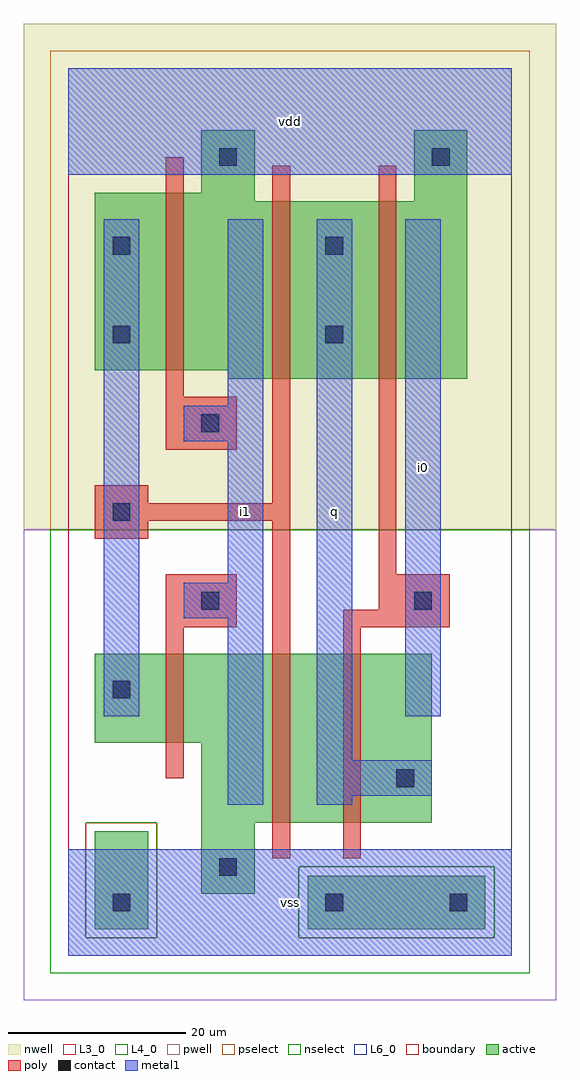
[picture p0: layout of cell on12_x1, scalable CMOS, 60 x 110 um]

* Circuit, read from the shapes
.subckt on12_x1 i0 i1 q vdd vss
M1 vss i1 n1 vss nfet w=10u l=2u
M2 n2 n1 vss vss nfet w=19u l=2u
M3 q i0 n2 vss nfet w=19u l=2u
M4 vdd i1 n1 n3 pfet w=20u l=2u
M5 q n1 vdd n3 pfet w=20u l=2u
M6 vdd i0 q n3 pfet w=20u l=2u
.ends

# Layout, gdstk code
import gdstk
lib = gdstk.Library(unit=1e-6, precision=1e-09)
def R(c, l, rs):  # rectangles x0, y0, x1, y1
    for r in rs: c.add(gdstk.rectangle(r[:2], r[2:], *l))
def A(c, l, x, y, w, h, nx, ny, dx, dy):  # array of equal rectangles
    R(c, l, [(x+i*dx, y+j*dy, x+i*dx+w, y+j*dy+h) for i in range(nx) for j in range(ny)])
L3_0 = (3, 0)
L4_0 = (4, 0)
L6_0 = (6, 0)
contact = (25, 0)
pwell = (41, 0)
nwell = (42, 0)
active = (43, 0)
pselect = (44, 0)
nselect = (45, 0)
poly = (46, 0)
metal1 = (49, 0)
boundary = (63, 0)

on12_x1 = lib.new_cell('on12_x1')
R(on12_x1, L3_0, [(15,7,21,15), (15,15,41,24), (3,24,41,34)])
R(on12_x1, L4_0, [(18,65,45,66), (3,66,45,85), (3,85,21,86), (39,85,45,93), (15,86,21,93)])
R(on12_x1, L6_0, [(3,3,9,14), (27,3,47,9)])
A(on12_x1, contact, 5, 29, 2, 2, 1, 3, 0, 20)
R(on12_x1, contact, [(5,5,7,7), (29,5,31,7), (43,5,45,7), (17,9,19,11), (37,19,39,21), (15,39,17,41), (39,39,41,41), (15,59,17,61), (29,69,31,71), (5,79,7,81), (29,79,31,81), (17,89,19,91), (41,89,43,91)])
R(on12_x1, pwell, [(-5,-5,55,48)])
R(on12_x1, nwell, [(-5,48,55,105)])
R(on12_x1, active, [(3,3,9,14), (27,3,47,9), (15,7,21,15), (15,15,41,24), (3,24,41,34), (18,65,45,66), (3,66,45,85), (3,85,21,86), (39,85,45,93), (15,86,21,93)])
R(on12_x1, pselect, [(2,2,10,15), (26,2,48,10), (-2,48,52,102)])
R(on12_x1, nselect, [(-2,-2,52,2), (-2,2,2,15), (10,2,26,10), (48,2,52,10), (10,10,52,15), (-2,15,52,48)])
R(on12_x1, poly, [(23,11,25,49), (31,11,33,37), (11,20,13,37), (11,37,19,43), (31,37,43,39), (35,39,43,43), (35,43,37,89), (3,47,9,49), (3,49,25,51), (3,51,9,53), (23,51,25,89), (11,57,19,63), (11,63,13,90)])
R(on12_x1, metal1, [(0,0,50,12), (18,17,22,38), (28,17,32,18), (28,18,41,22), (28,22,32,83), (4,27,8,83), (38,27,42,83), (13,38,22,42), (18,42,22,58), (13,58,22,62), (18,62,22,83), (0,88,50,100)])
R(on12_x1, boundary, [(0,0,50,100)])
on12_x1.add(gdstk.Label('vss', (25,6), layer=49, texttype=0))
on12_x1.add(gdstk.Label('q', (30,50), layer=49, texttype=0))
on12_x1.add(gdstk.Label('i1', (20,50), layer=49, texttype=0))
on12_x1.add(gdstk.Label('vdd', (25,94), layer=49, texttype=0))
on12_x1.add(gdstk.Label('i0', (40,55), layer=49, texttype=0))

lib.write_gds('on12_x1.gds')
